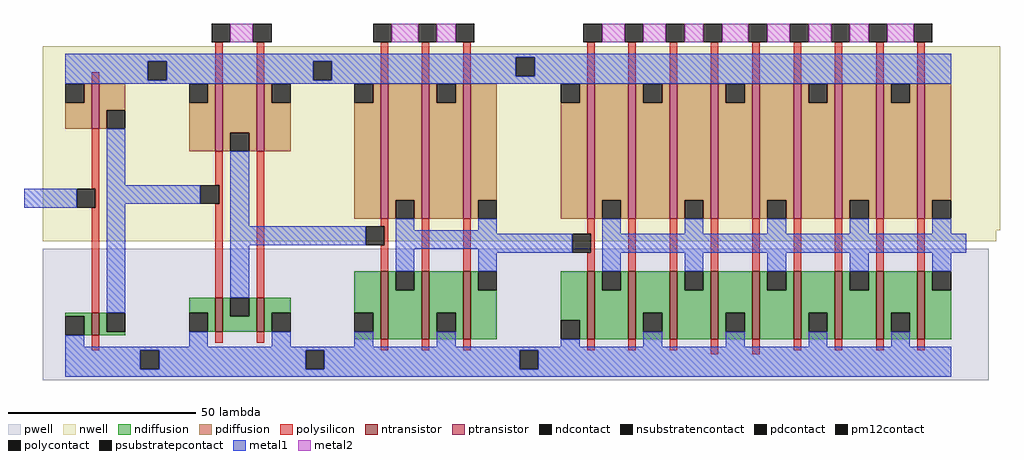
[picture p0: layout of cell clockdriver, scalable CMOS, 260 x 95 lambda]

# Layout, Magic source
magic
tech scmos
<< nwell >>
rect -6 -27 249 22
rect -6 -30 248 -27
<< pwell >>
rect -6 -67 246 -32
<< ntransistor >>
rect 7 -55 9 -49
rect 40 -54 42 -45
rect 51 -54 53 -45
rect 84 -56 86 -38
rect 95 -56 97 -38
rect 106 -56 108 -38
rect 139 -56 141 -38
rect 150 -56 152 -38
rect 161 -56 163 -38
rect 172 -56 174 -38
rect 183 -56 185 -38
rect 194 -56 196 -38
rect 205 -56 207 -38
rect 216 -56 218 -38
rect 227 -56 229 -38
<< ptransistor >>
rect 7 0 9 12
rect 40 -6 42 12
rect 51 -6 53 12
rect 84 -24 86 12
rect 95 -24 97 12
rect 106 -24 108 12
rect 139 -24 141 12
rect 150 -24 152 12
rect 161 -24 163 12
rect 172 -24 174 12
rect 183 -24 185 12
rect 194 -24 196 12
rect 205 -24 207 12
rect 216 -24 218 12
rect 227 -24 229 12
<< ndiffusion >>
rect 33 -49 40 -45
rect 0 -50 7 -49
rect 5 -55 7 -50
rect 9 -54 11 -49
rect 38 -54 40 -49
rect 42 -50 44 -45
rect 49 -50 51 -45
rect 42 -54 51 -50
rect 53 -49 60 -45
rect 53 -54 55 -49
rect 77 -49 84 -38
rect 82 -54 84 -49
rect 9 -55 16 -54
rect 77 -56 84 -54
rect 86 -43 88 -38
rect 93 -43 95 -38
rect 86 -56 95 -43
rect 97 -49 106 -38
rect 97 -54 99 -49
rect 104 -54 106 -49
rect 97 -56 106 -54
rect 108 -43 110 -38
rect 108 -56 115 -43
rect 132 -51 139 -38
rect 137 -56 139 -51
rect 141 -43 143 -38
rect 148 -43 150 -38
rect 141 -56 150 -43
rect 152 -49 161 -38
rect 152 -54 154 -49
rect 159 -54 161 -49
rect 152 -56 161 -54
rect 163 -43 165 -38
rect 170 -43 172 -38
rect 163 -56 172 -43
rect 174 -49 183 -38
rect 174 -54 176 -49
rect 181 -54 183 -49
rect 174 -56 183 -54
rect 185 -43 187 -38
rect 192 -43 194 -38
rect 185 -56 194 -43
rect 196 -49 205 -38
rect 196 -54 198 -49
rect 203 -54 205 -49
rect 196 -56 205 -54
rect 207 -43 209 -38
rect 214 -43 216 -38
rect 207 -56 216 -43
rect 218 -49 227 -38
rect 218 -54 220 -49
rect 225 -54 227 -49
rect 218 -56 227 -54
rect 229 -43 231 -38
rect 229 -56 236 -43
<< pdiffusion >>
rect 5 7 7 12
rect 0 0 7 7
rect 9 5 16 12
rect 9 0 11 5
rect 38 7 40 12
rect 33 -6 40 7
rect 42 -1 51 12
rect 42 -6 44 -1
rect 49 -6 51 -1
rect 53 7 55 12
rect 53 -6 60 7
rect 82 7 84 12
rect 77 -24 84 7
rect 86 -19 95 12
rect 86 -24 88 -19
rect 93 -24 95 -19
rect 97 7 99 12
rect 104 7 106 12
rect 97 -24 106 7
rect 108 -19 115 12
rect 108 -24 110 -19
rect 137 7 139 12
rect 132 -24 139 7
rect 141 -19 150 12
rect 141 -24 143 -19
rect 148 -24 150 -19
rect 152 7 154 12
rect 159 7 161 12
rect 152 -24 161 7
rect 163 -19 172 12
rect 163 -24 165 -19
rect 170 -24 172 -19
rect 174 7 176 12
rect 181 7 183 12
rect 174 -24 183 7
rect 185 -19 194 12
rect 185 -24 187 -19
rect 192 -24 194 -19
rect 196 7 198 12
rect 203 7 205 12
rect 196 -24 205 7
rect 207 -19 216 12
rect 207 -24 209 -19
rect 214 -24 216 -19
rect 218 7 220 12
rect 225 7 227 12
rect 218 -24 227 7
rect 229 -19 236 12
rect 229 -24 231 -19
<< ndcontact >>
rect 0 -55 5 -50
rect 11 -54 16 -49
rect 33 -54 38 -49
rect 44 -50 49 -45
rect 55 -54 60 -49
rect 77 -54 82 -49
rect 88 -43 93 -38
rect 99 -54 104 -49
rect 110 -43 115 -38
rect 132 -56 137 -51
rect 143 -43 148 -38
rect 154 -54 159 -49
rect 165 -43 170 -38
rect 176 -54 181 -49
rect 187 -43 192 -38
rect 198 -54 203 -49
rect 209 -43 214 -38
rect 220 -54 225 -49
rect 231 -43 236 -38
<< pdcontact >>
rect 0 7 5 12
rect 11 0 16 5
rect 33 7 38 12
rect 44 -6 49 -1
rect 55 7 60 12
rect 77 7 82 12
rect 88 -24 93 -19
rect 99 7 104 12
rect 110 -24 115 -19
rect 132 7 137 12
rect 143 -24 148 -19
rect 154 7 159 12
rect 165 -24 170 -19
rect 176 7 181 12
rect 187 -24 192 -19
rect 198 7 203 12
rect 209 -24 214 -19
rect 220 7 225 12
rect 231 -24 236 -19
<< psubstratepcontact >>
rect 20 -64 25 -59
rect 64 -64 69 -59
rect 121 -64 126 -59
<< nsubstratencontact >>
rect 22 13 27 18
rect 66 13 71 18
rect 120 14 125 19
<< polysilicon >>
rect 7 12 9 15
rect 40 12 42 23
rect 51 12 53 23
rect 84 12 86 23
rect 95 12 97 23
rect 106 12 108 23
rect 139 12 141 23
rect 150 12 152 23
rect 161 12 163 23
rect 172 12 174 23
rect 183 12 185 23
rect 194 12 196 23
rect 205 12 207 23
rect 216 12 218 23
rect 227 12 229 23
rect 7 -16 9 0
rect 40 -15 42 -6
rect 8 -21 9 -16
rect 41 -20 42 -15
rect 7 -49 9 -21
rect 40 -45 42 -20
rect 51 -45 53 -6
rect 84 -26 86 -24
rect 85 -31 86 -26
rect 84 -38 86 -31
rect 95 -38 97 -24
rect 106 -38 108 -24
rect 139 -28 141 -24
rect 140 -33 141 -28
rect 139 -38 141 -33
rect 150 -38 152 -24
rect 161 -38 163 -24
rect 172 -38 174 -24
rect 183 -38 185 -24
rect 194 -38 196 -24
rect 205 -38 207 -24
rect 216 -38 218 -24
rect 227 -38 229 -24
rect 7 -59 9 -55
rect 40 -57 42 -54
rect 51 -57 53 -54
rect 84 -59 86 -56
rect 95 -59 97 -56
rect 106 -59 108 -56
rect 139 -59 141 -56
rect 150 -59 152 -56
rect 161 -59 163 -56
rect 172 -60 174 -56
rect 183 -60 185 -56
rect 194 -59 196 -56
rect 205 -59 207 -56
rect 216 -59 218 -56
rect 227 -59 229 -56
<< polycontact >>
rect 3 -21 8 -16
rect 36 -20 41 -15
rect 80 -31 85 -26
rect 135 -33 140 -28
<< metal1 >>
rect 0 19 236 20
rect 0 18 120 19
rect 0 13 22 18
rect 27 13 66 18
rect 71 14 120 18
rect 125 14 236 19
rect 71 13 236 14
rect 0 12 236 13
rect 11 -15 16 0
rect -11 -21 3 -16
rect 11 -20 36 -15
rect 11 -49 16 -20
rect 44 -26 49 -6
rect 44 -31 80 -26
rect 88 -27 93 -24
rect 110 -27 115 -24
rect 88 -28 115 -27
rect 143 -28 148 -24
rect 165 -28 170 -24
rect 187 -28 192 -24
rect 209 -28 214 -24
rect 231 -28 236 -24
rect 44 -45 49 -31
rect 88 -32 135 -28
rect 88 -38 93 -32
rect 110 -33 135 -32
rect 143 -33 240 -28
rect 110 -38 115 -33
rect 143 -38 148 -33
rect 165 -38 170 -33
rect 187 -38 192 -33
rect 209 -38 214 -33
rect 231 -38 236 -33
rect 0 -58 5 -55
rect 33 -58 38 -54
rect 55 -58 60 -54
rect 77 -58 82 -54
rect 99 -58 104 -54
rect 132 -58 137 -56
rect 154 -58 159 -54
rect 176 -58 181 -54
rect 198 -58 203 -54
rect 220 -58 225 -54
rect 0 -59 236 -58
rect 0 -64 20 -59
rect 25 -64 64 -59
rect 69 -64 121 -59
rect 126 -64 236 -59
rect 0 -66 236 -64
<< pm12contact >>
rect 39 23 44 28
rect 50 23 55 28
rect 82 23 87 28
rect 94 23 99 28
rect 104 23 109 28
rect 138 23 143 28
rect 149 23 154 28
rect 160 23 165 28
rect 170 23 175 28
rect 182 23 187 28
rect 193 23 198 28
rect 204 23 209 28
rect 214 23 219 28
rect 226 23 231 28
<< metal2 >>
rect 44 23 50 28
rect 87 23 94 28
rect 99 23 104 28
rect 143 23 149 28
rect 154 23 160 28
rect 165 23 170 28
rect 175 23 182 28
rect 187 23 193 28
rect 198 23 204 28
rect 209 23 214 28
rect 219 23 226 28
<< end >>
